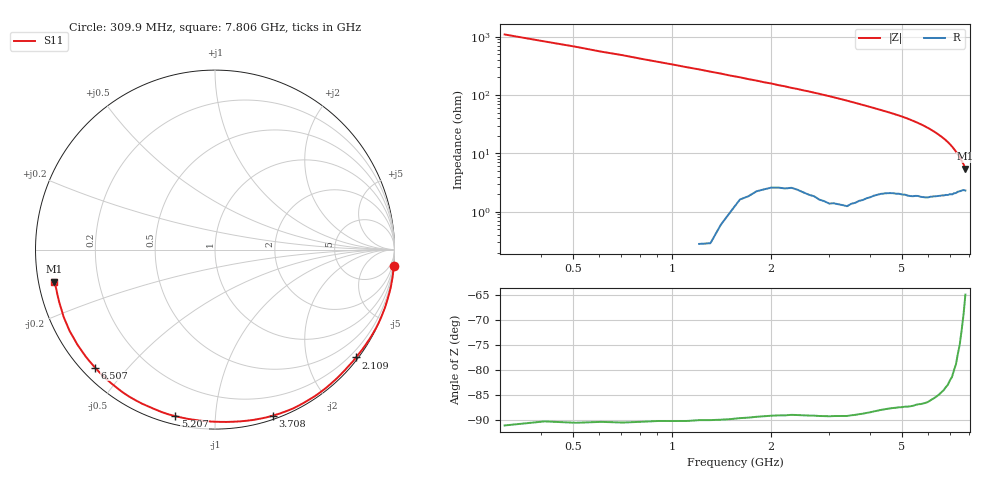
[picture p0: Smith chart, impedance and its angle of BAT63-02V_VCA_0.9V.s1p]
! Infineon Technologies  Discrete & RF Semiconductors
! BAT63-02V
! VCA = 0.9 V
! One-Port S-Parameters
# Hz  S  MA  R  50
!f  S11
!Hz  Mag  Ang
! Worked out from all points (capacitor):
!   76 points, 309.9 MHz to 7.806 GHz, reference 50 ohm
!   read as one part to ground: C = 468 fF near 309.9 MHz
!   lowest |Z| = 5.45 ohm at 7.806 GHz (marker M1)
!   S11 on the Smith chart (normalised r, x): 309.9 MHz: -0, -22; 2.109 GHz: 0.05, -2.95; 3.708 GHz: 0.03, -1.41; 5.207 GHz: 0.04, -0.79; 6.507 GHz: 0.04, -0.41; 7.806 GHz: 0.05, -0.10
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3.0985e8  1.002 -5.2
7.0965e8  1.002 -11.9
1.0095e9  1.001 -17.1
1.30935e9  0.9996 -22.5
1.6092e9  0.9962 -27.9
1.90905e9  0.9919 -33.6
2.009e9  0.9905 -35.2
2.10895e9  0.9894 -37.4
2.2089e9  0.9888 -39.1
2.6087e9  0.9876 -46.9
2.8086e9  0.9881 -51.0
3.2084e9  0.9868 -59.6
3.4083e9  0.9861 -63.9
3.70815e9  0.9796 -70.7
4.10795e9  0.9697 -79.5
4.50775e9  0.9605 -88.1
5.0075e9  0.9553 -98.9
5.2074e9  0.9543 -103.4
5.4073e9  0.9526 -108.2
5.6072e9  0.9495 -112.9
5.8071e9  0.949 -117.7
6.007e9  0.9472 -122.7
6.2069e9  0.9427 -127.8
6.50675e9  0.9378 -135.5
6.90655e9  0.9316 -145.6
7.10645e9  0.9283 -150.8
7.30635e9  0.9228 -156.1
7.8061e9  0.9123 -168.7
